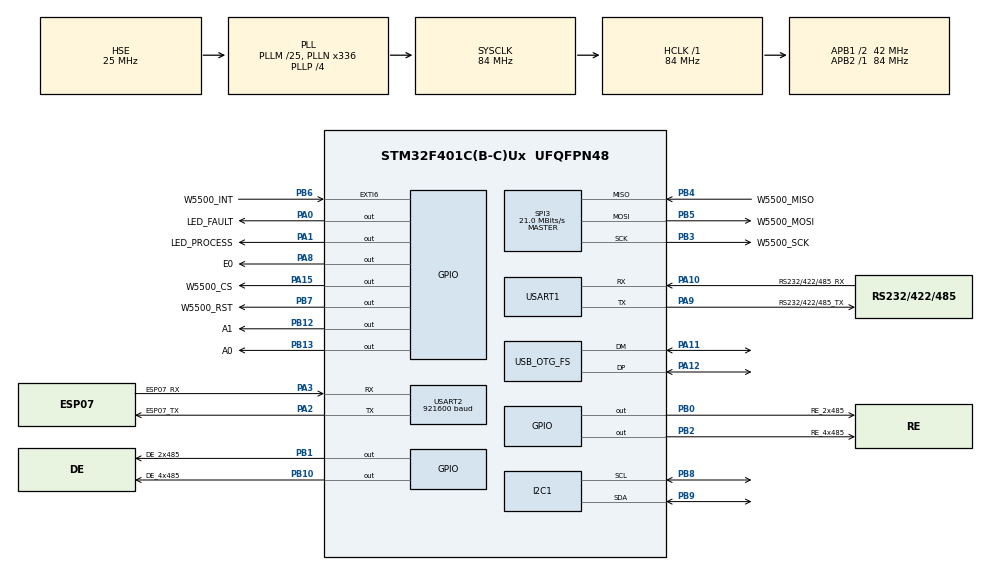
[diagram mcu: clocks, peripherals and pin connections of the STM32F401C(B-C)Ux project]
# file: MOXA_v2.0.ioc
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Dma.Request0=USART2_TX
Dma.Request1=USART1_TX
Dma.Request2=USART1_RX
Dma.USART1_RX.2.Direction=DMA_PERIPH_TO_MEMORY
Dma.USART1_RX.2.FIFOMode=DMA_FIFOMODE_DISABLE
Dma.USART1_RX.2.Instance=DMA2_Stream2
Dma.USART1_RX.2.MemDataAlignment=DMA_MDATAALIGN_BYTE
Dma.USART1_RX.2.MemInc=DMA_MINC_ENABLE
Dma.USART1_RX.2.Mode=DMA_NORMAL
Dma.USART1_RX.2.PeriphDataAlignment=DMA_PDATAALIGN_BYTE
Dma.USART1_RX.2.PeriphInc=DMA_PINC_DISABLE
Dma.USART1_RX.2.Priority=DMA_PRIORITY_HIGH
Dma.USART1_TX.1.Direction=DMA_MEMORY_TO_PERIPH
Dma.USART1_TX.1.FIFOMode=DMA_FIFOMODE_DISABLE
Dma.USART1_TX.1.Instance=DMA2_Stream7
Dma.USART1_TX.1.MemDataAlignment=DMA_MDATAALIGN_BYTE
Dma.USART1_TX.1.MemInc=DMA_MINC_ENABLE
Dma.USART1_TX.1.Mode=DMA_NORMAL
Dma.USART1_TX.1.PeriphDataAlignment=DMA_PDATAALIGN_BYTE
Dma.USART1_TX.1.PeriphInc=DMA_PINC_DISABLE
Dma.USART1_TX.1.Priority=DMA_PRIORITY_HIGH
Dma.USART2_TX.0.Direction=DMA_MEMORY_TO_PERIPH
Dma.USART2_TX.0.FIFOMode=DMA_FIFOMODE_DISABLE
Dma.USART2_TX.0.Instance=DMA1_Stream6
Dma.USART2_TX.0.MemDataAlignment=DMA_MDATAALIGN_BYTE
Dma.USART2_TX.0.MemInc=DMA_MINC_ENABLE
Dma.USART2_TX.0.Mode=DMA_NORMAL
Dma.USART2_TX.0.PeriphDataAlignment=DMA_PDATAALIGN_BYTE
Dma.USART2_TX.0.PeriphInc=DMA_PINC_DISABLE
Dma.USART2_TX.0.Priority=DMA_PRIORITY_HIGH
Mcu.Family=STM32F4
Mcu.Name=STM32F401C(B-C)Ux
Mcu.Package=UFQFPN48
NVIC.DMA1_Stream6_IRQn=true\:0\:0\:false\:false\:true\:false\:true\:true
NVIC.DMA2_Stream2_IRQn=true\:0\:0\:false\:false\:true\:false\:true\:true
NVIC.DMA2_Stream7_IRQn=true\:0\:0\:false\:false\:true\:false\:true\:true
NVIC.OTG_FS_IRQn=true\:0\:0\:false\:false\:true\:false\:true\:true
NVIC.PriorityGroup=NVIC_PRIORITYGROUP_4
NVIC.USART1_IRQn=true\:0\:0\:false\:false\:true\:true\:true\:true
NVIC.USART2_IRQn=true\:0\:0\:false\:false\:true\:true\:true\:true
PA0-WKUP.GPIO_Label=LED_FAULT
PA0-WKUP.GPIO_Speed=GPIO_SPEED_FREQ_VERY_HIGH
PA0-WKUP.Signal=GPIO_Output
PA1.GPIO_Label=LED_PROCESS
PA1.GPIO_Speed=GPIO_SPEED_FREQ_VERY_HIGH
PA1.Signal=GPIO_Output
PA10.GPIO_Label=RS232/422/485_RX
PA10.GPIO_PuPd=GPIO_PULLDOWN
PA10.Mode=Asynchronous
PA10.Signal=USART1_RX
PA11.Mode=Device_Only
PA11.Signal=USB_OTG_FS_DM
PA12.Mode=Device_Only
PA12.Signal=USB_OTG_FS_DP
PA13.Mode=Serial_Wire
PA13.Signal=SYS_JTMS-SWDIO
PA14.Mode=Serial_Wire
PA14.Signal=SYS_JTCK-SWCLK
PA15.GPIO_Label=W5500_CS
PA15.GPIO_Speed=GPIO_SPEED_FREQ_VERY_HIGH
PA15.Signal=GPIO_Output
PA2.GPIO_Label=ESP07_TX
PA2.Mode=Asynchronous
PA2.Signal=USART2_TX
PA3.GPIO_Label=ESP07_RX
PA3.Mode=Asynchronous
PA3.Signal=USART2_RX
PA8.GPIO_Label=E0
PA8.GPIO_PuPd=GPIO_NOPULL
PA8.GPIO_Speed=GPIO_SPEED_FREQ_VERY_HIGH
PA8.Signal=GPIO_Output
PA9.GPIO_Label=RS232/422/485_TX
PA9.GPIO_PuPd=GPIO_PULLDOWN
PA9.Mode=Asynchronous
PA9.Signal=USART1_TX
PB0.GPIO_Label=RE_2x485
PB0.GPIO_PuPd=GPIO_NOPULL
PB0.GPIO_Speed=GPIO_SPEED_FREQ_VERY_HIGH
PB0.Signal=GPIO_Output
PB1.GPIO_Label=DE_2x485
PB1.GPIO_PuPd=GPIO_PULLDOWN
PB1.GPIO_Speed=GPIO_SPEED_FREQ_VERY_HIGH
PB1.Signal=GPIO_Output
PB10.GPIO_Label=DE_4x485
PB10.GPIO_PuPd=GPIO_PULLDOWN
PB10.GPIO_Speed=GPIO_SPEED_FREQ_VERY_HIGH
PB10.Signal=GPIO_Output
PB12.GPIO_Label=A1
PB12.GPIO_Speed=GPIO_SPEED_FREQ_VERY_HIGH
PB12.Signal=GPIO_Output
PB13.GPIO_Label=A0
PB13.GPIO_Speed=GPIO_SPEED_FREQ_VERY_HIGH
PB13.Signal=GPIO_Output
PB2.GPIO_Label=RE_4x485
PB2.GPIO_PuPd=GPIO_NOPULL
PB2.GPIO_Speed=GPIO_SPEED_FREQ_VERY_HIGH
PB2.Signal=GPIO_Output
PB3.GPIO_Label=W5500_SCK
PB3.Mode=Full_Duplex_Master
PB3.Signal=SPI3_SCK
PB4.GPIO_Label=W5500_MISO
PB4.Mode=Full_Duplex_Master
PB4.Signal=SPI3_MISO
PB5.GPIO_Label=W5500_MOSI
PB5.Mode=Full_Duplex_Master
PB5.Signal=SPI3_MOSI
PB6.GPIO_Label=W5500_INT
PB6.Signal=GPXTI6
PB7.GPIO_Label=W5500_RST
PB7.GPIO_Speed=GPIO_SPEED_FREQ_VERY_HIGH
PB7.Signal=GPIO_Output
PB8.Mode=I2C
PB8.Signal=I2C1_SCL
PB9.Mode=I2C
PB9.Signal=I2C1_SDA
PH0\ -\ OSC_IN.Mode=HSE-External-Oscillator
PH0\ -\ OSC_IN.Signal=RCC_OSC_IN
PH1\ -\ OSC_OUT.Mode=HSE-External-Oscillator
PH1\ -\ OSC_OUT.Signal=RCC_OSC_OUT
ProjectManager.HeapSize=0x200
ProjectManager.StackSize=0x400
ProjectManager.TargetToolchain=STM32CubeIDE
RCC.48MHZClocksFreq_Value=48000000
RCC.AHBFreq_Value=84000000
RCC.APB1CLKDivider=RCC_HCLK_DIV2
RCC.APB1Freq_Value=42000000
RCC.APB1TimFreq_Value=84000000
RCC.APB2Freq_Value=84000000
RCC.APB2TimFreq_Value=84000000
RCC.CortexFreq_Value=84000000
RCC.HCLKFreq_Value=84000000
RCC.HSE_VALUE=25000000
RCC.HSI_VALUE=16000000
RCC.LSE_VALUE=32768
RCC.PLLM=25
RCC.PLLN=336
RCC.PLLP=RCC_PLLP_DIV4
RCC.PLLQ=7
RCC.SYSCLKFreq_VALUE=84000000
RCC.SYSCLKSource=RCC_SYSCLKSOURCE_PLLCLK
RCC.VCOOutputFreq_Value=336000000
SPI3.CalculateBaudRate=21.0 MBits/s
SPI3.Direction=SPI_DIRECTION_2LINES
SPI3.Mode=SPI_MODE_MASTER
SPI3.VirtualType=VM_MASTER
USART1.VirtualMode=VM_ASYNC
USART2.BaudRate=921600
USART2.VirtualMode=VM_ASYNC
USB_DEVICE.CLASS_NAME_FS=CDC
USB_DEVICE.VirtualMode=Cdc
USB_DEVICE.VirtualModeFS=Cdc_FS
USB_OTG_FS.VirtualMode=Device_Only
VP_CRC_VS_CRC.Mode=CRC_Activate
VP_USB_DEVICE_VS_USB_DEVICE_CDC_FS.Mode=CDC_FS
board=custom

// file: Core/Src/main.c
/* USER CODE BEGIN Header */
/**
  ******************************************************************************
  * @file           : main.c
  * @brief          : Main program body
  ******************************************************************************
  * @attention
  *
  * Copyright (c) 2026 STMicroelectronics.
  * All rights reserved.
  *
  * This software is licensed under terms that can be found in the LICENSE file
  * in the root directory of this software component.
  * If no LICENSE file comes with this software, it is provided AS-IS.
  *
  ******************************************************************************
  */

//   ███████╗██╗  ██╗███████╗██╗  ██╗ █████╗ ██████╗  ██████╗ ██╗    ██╗
//   ██╔════╝╚██╗██╔╝██╔════╝██║  ██║██╔══██╗██╔══██╗██╔═══██╗██║    ██║
//   █████╗   ╚███╔╝ ███████╗███████║███████║██║  ██║██║   ██║██║ █╗ ██║
//   ██╔══╝   ██╔██╗ ╚════██║██╔══██║██╔══██║██║  ██║██║   ██║██║███╗██║
//   ███████╗██╔╝ ██╗███████║██║  ██║██║  ██║██████╔╝╚██████╔╝╚███╔███╔╝
//   ╚══════╝╚═╝  ╚═╝╚══════╝╚═╝  ╚═╝╚═╝  ╚═╝╚═════╝  ╚═════╝  ╚══╝╚══╝

/* USER CODE END Header */
#include "main.h"
#include "usb_device.h"

/* USER CODE BEGIN Includes */
#include "socket.h"
#include "wizchip_conf.h"
#include "esp_link.h"
#include "esp_commands.h"
#include "bridge.h"
#include "usb_cdc.h"
#include "rs_config.h"
#include "rs_bridge.h"
#include "eth_bridge.h"
/* USER CODE END Includes */

/* USER CODE BEGIN PD */
#define HTTP_SOCKET     0
#define PORT_TCPS		5000
#define DATA_BUF_SIZE   2048
#define HTTP_BUF_SIZE   2048
/* USER CODE END PD */

CRC_HandleTypeDef hcrc;

I2C_HandleTypeDef hi2c1;

SPI_HandleTypeDef hspi3;

UART_HandleTypeDef huart1;
UART_HandleTypeDef huart2;
DMA_HandleTypeDef hdma_usart1_tx;
DMA_HandleTypeDef hdma_usart1_rx;
DMA_HandleTypeDef hdma_usart2_tx;

/* USER CODE BEGIN PV */
wiz_NetInfo gWIZNETINFO = { .mac = {0x00, 0x08, 0xdc, 0xab, 0xcd, 0xef},
                            .ip = {192, 168, 100, 200},
                            .sn = {255, 255, 255, 0},
                            .gw = {192, 168, 100, 1},
                            .dns = {8, 8, 8, 8},
                            .dhcp = NETINFO_STATIC };

// объявления для HTTP сервера
uint8_t gHttpTxBuf[HTTP_BUF_SIZE];
uint8_t gHttpRxBuf[HTTP_BUF_SIZE];
uint8_t http_socket_list[] = {0};
/* USER CODE END PV */

void SystemClock_Config(void);
static void MX_GPIO_Init(void);
static void MX_DMA_Init(void);
static void MX_I2C1_Init(void);
static void MX_SPI3_Init(void);
static void MX_USART1_UART_Init(void);
static void MX_USART2_UART_Init(void);
static void MX_CRC_Init(void);

/* USER CODE BEGIN 0 */
/* USER CODE BEGIN 0 */
void W5500_Select(void)
{
  HAL_GPIO_WritePin(W5500_CS_GPIO_Port, W5500_CS_Pin, GPIO_PIN_RESET);
}

void W5500_Unselect(void)
{
  HAL_GPIO_WritePin(W5500_CS_GPIO_Port, W5500_CS_Pin, GPIO_PIN_SET);
}

void W5500_ReadBuff(uint8_t* buff, uint16_t len)
{
  HAL_SPI_Receive(&hspi3, buff, len, HAL_MAX_DELAY);
}

void W5500_WriteBuff(uint8_t* buff, uint16_t len)
{
  HAL_SPI_Transmit(&hspi3, buff, len, HAL_MAX_DELAY);
}

uint8_t W5500_ReadByte(void)
{
  uint8_t byte;
  HAL_SPI_Receive(&hspi3, &byte, 1, HAL_MAX_DELAY);
  return byte;
}

void W5500_WriteByte(uint8_t byte)
{
  HAL_SPI_Transmit(&hspi3, &byte, 1, HAL_MAX_DELAY);
}
/* USER CODE END 0 */

int main(void)
{

  /* MCU Configuration--------------------------------------------------------*/

  /* Reset of all peripherals, Initializes the Flash interface and the Systick. */
  HAL_Init();

  /* Configure the system clock */
  SystemClock_Config();

  /* Initialize all configured peripherals */
  MX_GPIO_Init();
  MX_DMA_Init();
  MX_I2C1_Init();
  MX_SPI3_Init();
  MX_USART1_UART_Init();
  MX_USART2_UART_Init();
  MX_CRC_Init();
  MX_USB_DEVICE_Init();
  /* USER CODE BEGIN 2 */
  // Сброс W5500
  HAL_GPIO_WritePin(W5500_RST_GPIO_Port, W5500_RST_Pin, GPIO_PIN_RESET);
  HAL_Delay(10);
  HAL_GPIO_WritePin(W5500_RST_GPIO_Port, W5500_RST_Pin, GPIO_PIN_SET);
  HAL_Delay(100);

  // Регистрация колбэков
  reg_wizchip_cs_cbfunc(W5500_Select, W5500_Unselect);
  reg_wizchip_spi_cbfunc(W5500_ReadByte, W5500_WriteByte);
  reg_wizchip_spiburst_cbfunc(W5500_ReadBuff, W5500_WriteBuff);

  // Инициализация буферов сокетов (2 КБ на сокет)
  uint8_t rx_tx_buff_sizes[] = {2, 2, 2, 2, 2, 2, 2, 2};
  if (wizchip_init(rx_tx_buff_sizes, rx_tx_buff_sizes) != 0)
  {
      Error_Handler();
  }

  // Установка сетевых параметров
  wizchip_setnetinfo(&gWIZNETINFO);
  ctlnetwork(CN_SET_NETINFO, (void*)&gWIZNETINFO);

  // Проверка версии чипа — если читается 0x04, значит SPI работает
  uint8_t ver = getVERSIONR();
  if (ver != 0x04)
  {
      Error_Handler();
  }

  // Индикация успеха — зажжём LED_PROCESS
  HAL_GPIO_WritePin(LED_PROCESS_GPIO_Port, LED_PROCESS_Pin, GPIO_PIN_RESET);
  HAL_GPIO_WritePin(LED_FAULT_GPIO_Port, LED_FAULT_Pin, GPIO_PIN_SET);

  esp_link_init();
  bridge_init();

  /* Всё выключено, пока не пришла команда CMD=SET */
  rs_mux_disable();       /* E0 = 1, мультиплексор выключен */
  rs_all_xcvr_off();      /* RE=1, DE=0 для 485 и 422 */
  /* USER CODE END 2 */

  /* Infinite loop */
  /* USER CODE BEGIN WHILE */
  while (1)
  {
	    HAL_GPIO_TogglePin(LED_PROCESS_GPIO_Port, LED_PROCESS_Pin);
	    eth_bridge_poll();
	    HAL_Delay(1);

    /* USER CODE END WHILE */

  }
}

void SystemClock_Config(void)
{
  RCC_OscInitTypeDef RCC_OscInitStruct = {0};
  RCC_ClkInitTypeDef RCC_ClkInitStruct = {0};

  /** Configure the main internal regulator output voltage
  */
  __HAL_RCC_PWR_CLK_ENABLE();
  __HAL_PWR_VOLTAGESCALING_CONFIG(PWR_REGULATOR_VOLTAGE_SCALE2);

  /** Initializes the RCC Oscillators according to the specified parameters
  * in the RCC_OscInitTypeDef structure.
  */
  RCC_OscInitStruct.OscillatorType = RCC_OSCILLATORTYPE_HSE;
  RCC_OscInitStruct.HSEState = RCC_HSE_ON;
  RCC_OscInitStruct.PLL.PLLState = RCC_PLL_ON;
  RCC_OscInitStruct.PLL.PLLSource = RCC_PLLSOURCE_HSE;
  RCC_OscInitStruct.PLL.PLLM = 25;
  RCC_OscInitStruct.PLL.PLLN = 336;
  RCC_OscInitStruct.PLL.PLLP = RCC_PLLP_DIV4;
  RCC_OscInitStruct.PLL.PLLQ = 7;
  if (HAL_RCC_OscConfig(&RCC_OscInitStruct) != HAL_OK)
  {
    Error_Handler();
  }

  /** Initializes the CPU, AHB and APB buses clocks
  */
  RCC_ClkInitStruct.ClockType = RCC_CLOCKTYPE_HCLK|RCC_CLOCKTYPE_SYSCLK
                              |RCC_CLOCKTYPE_PCLK1|RCC_CLOCKTYPE_PCLK2;
  RCC_ClkInitStruct.SYSCLKSource = RCC_SYSCLKSOURCE_PLLCLK;
  RCC_ClkInitStruct.AHBCLKDivider = RCC_SYSCLK_DIV1;
  RCC_ClkInitStruct.APB1CLKDivider = RCC_HCLK_DIV2;
  RCC_ClkInitStruct.APB2CLKDivider = RCC_HCLK_DIV1;

  if (HAL_RCC_ClockConfig(&RCC_ClkInitStruct, FLASH_LATENCY_2) != HAL_OK)
  {
    Error_Handler();
  }
}

static void MX_CRC_Init(void)
{

  hcrc.Instance = CRC;
  if (HAL_CRC_Init(&hcrc) != HAL_OK)
  {
    Error_Handler();
  }

}

static void MX_I2C1_Init(void)
{

  hi2c1.Instance = I2C1;
  hi2c1.Init.ClockSpeed = 100000;
  hi2c1.Init.DutyCycle = I2C_DUTYCYCLE_2;
  hi2c1.Init.OwnAddress1 = 0;
  hi2c1.Init.AddressingMode = I2C_ADDRESSINGMODE_7BIT;
  hi2c1.Init.DualAddressMode = I2C_DUALADDRESS_DISABLE;
  hi2c1.Init.OwnAddress2 = 0;
  hi2c1.Init.GeneralCallMode = I2C_GENERALCALL_DISABLE;
  hi2c1.Init.NoStretchMode = I2C_NOSTRETCH_DISABLE;
  if (HAL_I2C_Init(&hi2c1) != HAL_OK)
  {
    Error_Handler();
  }

}

static void MX_SPI3_Init(void)
{

  /* SPI3 parameter configuration*/
  hspi3.Instance = SPI3;
  hspi3.Init.Mode = SPI_MODE_MASTER;
  hspi3.Init.Direction = SPI_DIRECTION_2LINES;
  hspi3.Init.DataSize = SPI_DATASIZE_8BIT;
  hspi3.Init.CLKPolarity = SPI_POLARITY_LOW;
  hspi3.Init.CLKPhase = SPI_PHASE_1EDGE;
  hspi3.Init.NSS = SPI_NSS_SOFT;
  hspi3.Init.BaudRatePrescaler = SPI_BAUDRATEPRESCALER_2;
  hspi3.Init.FirstBit = SPI_FIRSTBIT_MSB;
  hspi3.Init.TIMode = SPI_TIMODE_DISABLE;
  hspi3.Init.CRCCalculation = SPI_CRCCALCULATION_DISABLE;
  hspi3.Init.CRCPolynomial = 10;
  if (HAL_SPI_Init(&hspi3) != HAL_OK)
  {
    Error_Handler();
  }

}

static void MX_USART1_UART_Init(void)
{

  huart1.Instance = USART1;
  huart1.Init.BaudRate = 115200;
  huart1.Init.WordLength = UART_WORDLENGTH_8B;
  huart1.Init.StopBits = UART_STOPBITS_1;
  huart1.Init.Parity = UART_PARITY_NONE;
  huart1.Init.Mode = UART_MODE_TX_RX;
  huart1.Init.HwFlowCtl = UART_HWCONTROL_NONE;
  huart1.Init.OverSampling = UART_OVERSAMPLING_16;
  if (HAL_UART_Init(&huart1) != HAL_OK)
  {
    Error_Handler();
  }

}

static void MX_USART2_UART_Init(void)
{

  huart2.Instance = USART2;
  huart2.Init.BaudRate = 921600;
  huart2.Init.WordLength = UART_WORDLENGTH_8B;
  huart2.Init.StopBits = UART_STOPBITS_1;
  huart2.Init.Parity = UART_PARITY_NONE;
  huart2.Init.Mode = UART_MODE_TX_RX;
  huart2.Init.HwFlowCtl = UART_HWCONTROL_NONE;
  huart2.Init.OverSampling = UART_OVERSAMPLING_16;
  if (HAL_UART_Init(&huart2) != HAL_OK)
  {
    Error_Handler();
  }

}

static void MX_DMA_Init(void)
{

  /* DMA controller clock enable */
  __HAL_RCC_DMA1_CLK_ENABLE();
  __HAL_RCC_DMA2_CLK_ENABLE();

  /* DMA interrupt init */
  /* DMA1_Stream6_IRQn interrupt configuration */
  HAL_NVIC_SetPriority(DMA1_Stream6_IRQn, 0, 0);
  HAL_NVIC_EnableIRQ(DMA1_Stream6_IRQn);
  /* DMA2_Stream2_IRQn interrupt configuration */
  HAL_NVIC_SetPriority(DMA2_Stream2_IRQn, 0, 0);
  HAL_NVIC_EnableIRQ(DMA2_Stream2_IRQn);
  /* DMA2_Stream7_IRQn interrupt configuration */
  HAL_NVIC_SetPriority(DMA2_Stream7_IRQn, 0, 0);
  HAL_NVIC_EnableIRQ(DMA2_Stream7_IRQn);

}

static void MX_GPIO_Init(void)
{
  GPIO_InitTypeDef GPIO_InitStruct = {0};

  /* GPIO Ports Clock Enable */
  __HAL_RCC_GPIOH_CLK_ENABLE();
  __HAL_RCC_GPIOA_CLK_ENABLE();
  __HAL_RCC_GPIOB_CLK_ENABLE();

  /*Configure GPIO pin Output Level */
  HAL_GPIO_WritePin(GPIOA, LED_FAULT_Pin|LED_PROCESS_Pin|E0_Pin|W5500_CS_Pin, GPIO_PIN_RESET);

  /*Configure GPIO pin Output Level */
  HAL_GPIO_WritePin(GPIOB, RE_2x485_Pin|DE_2x485_Pin|RE_4x485_Pin|DE_4x485_Pin
                          |A1_Pin|A0_Pin|W5500_RST_Pin, GPIO_PIN_RESET);

  /*Configure GPIO pins : LED_FAULT_Pin LED_PROCESS_Pin E0_Pin W5500_CS_Pin */
  GPIO_InitStruct.Pin = LED_FAULT_Pin|LED_PROCESS_Pin|E0_Pin|W5500_CS_Pin;
  GPIO_InitStruct.Mode = GPIO_MODE_OUTPUT_PP;
  GPIO_InitStruct.Pull = GPIO_NOPULL;
  GPIO_InitStruct.Speed = GPIO_SPEED_FREQ_VERY_HIGH;
  HAL_GPIO_Init(GPIOA, &GPIO_InitStruct);

  /*Configure GPIO pins : RE_2x485_Pin RE_4x485_Pin A1_Pin A0_Pin
                           W5500_RST_Pin */
  GPIO_InitStruct.Pin = RE_2x485_Pin|RE_4x485_Pin|A1_Pin|A0_Pin
                          |W5500_RST_Pin;
  GPIO_InitStruct.Mode = GPIO_MODE_OUTPUT_PP;
  GPIO_InitStruct.Pull = GPIO_NOPULL;
  GPIO_InitStruct.Speed = GPIO_SPEED_FREQ_VERY_HIGH;
  HAL_GPIO_Init(GPIOB, &GPIO_InitStruct);

  /*Configure GPIO pins : DE_2x485_Pin DE_4x485_Pin */
  GPIO_InitStruct.Pin = DE_2x485_Pin|DE_4x485_Pin;
  GPIO_InitStruct.Mode = GPIO_MODE_OUTPUT_PP;
  GPIO_InitStruct.Pull = GPIO_PULLDOWN;
  GPIO_InitStruct.Speed = GPIO_SPEED_FREQ_VERY_HIGH;
  HAL_GPIO_Init(GPIOB, &GPIO_InitStruct);

  /*Configure GPIO pin : W5500_INT_Pin */
  GPIO_InitStruct.Pin = W5500_INT_Pin;
  GPIO_InitStruct.Mode = GPIO_MODE_IT_RISING;
  GPIO_InitStruct.Pull = GPIO_NOPULL;
  HAL_GPIO_Init(W5500_INT_GPIO_Port, &GPIO_InitStruct);

}

/* USER CODE BEGIN 4 */
void HAL_UART_RxCpltCallback(UART_HandleTypeDef *huart)
{
    if (huart->Instance == USART2) {
        esp_link_on_rx_byte();
    }
}

void HAL_UART_TxCpltCallback(UART_HandleTypeDef *huart)
{
    if (huart->Instance == USART2) {
        esp_link_on_tx_done();
        bridge_on_uart2_tx_done();
    }
    else if (huart->Instance == USART1) {
        rs_bridge_on_tx_done();
    }
}
void HAL_UART_ErrorCallback(UART_HandleTypeDef *huart)
{
    if (huart->Instance == USART2) {
        esp_link_on_error();
    }
}

void HAL_UARTEx_RxEventCallback(UART_HandleTypeDef *huart, uint16_t Size)
{
    if (huart->Instance == USART1) {
        rs_bridge_on_rx_event(Size);
    }
}
/* USER CODE END 4 */

void Error_Handler(void)
{
  /* USER CODE BEGIN Error_Handler_Debug */
  /* User can add his own implementation to report the HAL error return state */
	HAL_GPIO_WritePin(LED_PROCESS_GPIO_Port, LED_PROCESS_Pin, GPIO_PIN_SET);
	HAL_GPIO_WritePin(LED_FAULT_GPIO_Port, LED_FAULT_Pin, GPIO_PIN_RESET);
	HAL_Delay(5000);
	NVIC_SystemReset();
  __disable_irq();
  while (1)
  {
  }
  /* USER CODE END Error_Handler_Debug */
}
